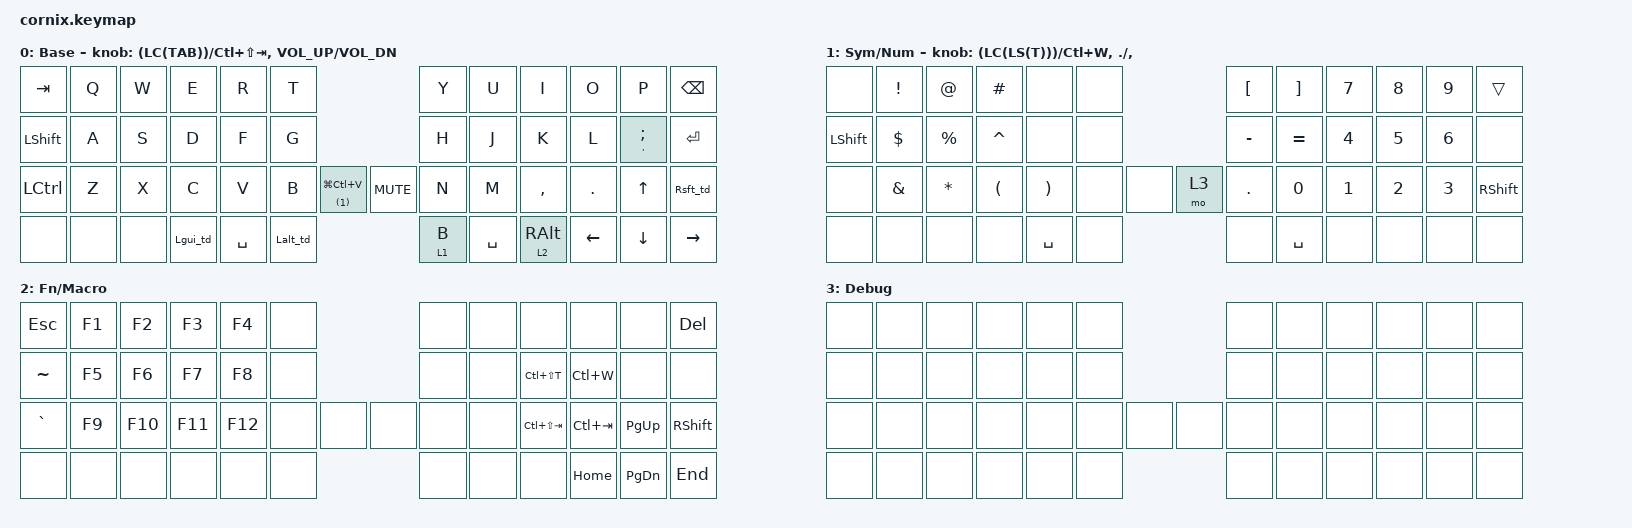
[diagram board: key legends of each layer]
/*
 * Copyright (c) 2020 The ZMK Contributors
 *
 * SPDX-License-Identifier: MIT
 */

#include "zmk-helpers/helper.h"
#include "includes/cornix54.h"

// tap windows for ctl alt and gui

#define HM_TAPPING_TERM 250
#define HM_TAPPING_REPEAT 210

// quick tapping for shift

#define HM_TAPPING_TERM_FAST 200
#define HM_PRIOR_IDLE 70
#define BASE 0
#define WIN 1
#define LOWER 2
#define RAISE 3
#define ADJUST 4
#define NAVI   5
#define NUM    6
#define DEBUG  7

// https://github.com/urob/zmk-config/tree/main#timeless-homerow-mods

#define KEYS_L LT0 LT1 LT2 LT3 LT4 LT5 LM0 LM1 LM2 LM3 LM4 LM5 LB0 LB1 LB2 LB3 LB4 LB5  // left hand
#define KEYS_R RT0 RT1 RT2 RT3 RT4 RT5 RM0 RM1 RM2 RM3 RM4 RM5 RB0 RB1 RB2 RB3 RB4 RB5  // right hand
#define THUMBS LH1 LH0 RH0 RH1
#define KEYS_T LH1 LH0 RH0 RH1
#define ZMK_POINTING_DEFAULT_SCRL_VAL 15

#include <behaviors.dtsi>
#include <dt-bindings/zmk/keys.h>

/ {
    // Activate ADJUST layer by pressing raise and lower

    behaviors {
        // Positional Homerow mods for shift
        // Use faster tapping term and disable some features that may
        // cause false negatives.
        /*
         * Non-Positional Homerow Mods
         * Used for &mm_grescm_gui behavior on left hand.
         *
         * Usage: &hm LSHFT T
         * Tap: T
         * Tap-Tap-Hold: Repeat T
         * Hold: LSHIFT
         */

        lt: layer_tap {
            compatible = "zmk,behavior-hold-tap";
            #binding-cells = <2>;
            bindings = <&mo>, <&kp>;

            flavor = "tap-preferred";
            tapping-term-ms = <HM_TAPPING_TERM>;
            quick-tap-ms = <200>;
        };

        ht: hold_tap {
            compatible = "zmk,behavior-hold-tap";
            bindings = <&kp>, <&kp>;

            #binding-cells = <2>;
            tapping-term-ms = <125>;
            flavor = "balanced";
            quick-tap-ms = <125>;
        };

        Rsft_td: Rsft_td {
            compatible = "zmk,behavior-tap-dance";
            label = "Rsft_td";
            #binding-cells = <0>;
            tapping-term-ms = <150>;
            bindings = <&ht RSHIFT SLASH>, <&ht QMARK QMARK>;
        };

        Lalt_td: Lalt_td {
            compatible = "zmk,behavior-tap-dance";
            label = "LALT_TD";
            #binding-cells = <0>;
            bindings = <&ht LALT Y>, <&lt 1 LALT>;

            tapping-term-ms = <150>;
        };

        Lgui_td: Lgui_td {
            compatible = "zmk,behavior-tap-dance";
            label = "LGUI_TD";
            #binding-cells = <0>;
            bindings = <&ht LGUI LGUI>, <&lt 2 LGUI>;

            tapping-term-ms = <200>;
        };
    };

    conditional_layers { compatible = "zmk,conditional-layers"; };

    combos { compatible = "zmk,combos"; };

    keymap {
        compatible = "zmk,keymap";

        default_layer {
            display-name = "Base";

            // ------------------------------------------------------------------------------------------------------------
            // |   `   |  1  |  2  |  3   |  4   |  5   |                   |  6   |  7    |  8    |  9   |   0   |       |
            // |  ESC  |  Q  |  W  |  E   |  R   |  T   |                   |  Y   |  U    |  I    |  O   |   P   | BKSPC |
            // |  TAB  |  A  |  S  |  D   |  F   |  G   |                   |  H   |  J    |  K    |  L   |   ;   |   '   |
            // | SHIFT |  Z  |  X  |  C   |  V   |  B   |  MUTE  |  |       |  N   |  M    |  ,    |  .   |   /   | SHIFT |
            //               | GUI | ALT  | CTRL | LOWER|  ENTER |  | SPACE | RAISE| CTRL  | ALT   | GUI  |

            bindings = <
&kp TAB     &kp Q  &kp W  &kp E     &kp R      &kp T                                    &kp Y    &kp U      &kp I       &kp O     &kp P               &kp BACKSPACE
&kp LSHIFT  &kp A  &kp S  &kp D     &kp F      &kp G                                    &kp H    &kp J      &kp K       &kp L     &ht APOS SEMICOLON  &kp ENTER
&kp LCTRL   &kp Z  &kp X  &kp C     &kp V      &kp B     &lt (1) LG(LC(V))  &kp C_MUTE  &kp N    &kp M      &kp COMMA   &kp DOT   &kp UP              &Rsft_td
&none       &none  &none  &Lgui_td  &kp SPACE  &Lalt_td                                 &lt 1 B  &kp SPACE  &lt 2 RALT  &kp LEFT  &kp DOWN            &kp RIGHT
            >;

            sensor-bindings =
                <&inc_dec_kp (LC(TAB)) LC(LS(TAB))>,
                <&inc_dec_kp C_VOL_UP C_VOL_DN>;
        };

        sym+num_layer {
            bindings = <
&none       &kp EXCLAMATION  &kp AT_SIGN   &kp POUND             &none                  &none                &kp LEFT_BRACKET  &kp RIGHT_BRACKET  &kp N7  &kp N8  &kp N9  &trans
&kp LSHIFT  &kp DOLLAR       &kp PERCENT   &kp CARET             &none                  &none                &kp MINUS         &kp EQUAL          &kp N4  &kp N5  &kp N6  &none
&none       &kp AMPERSAND    &kp ASTERISK  &kp LEFT_PARENTHESIS  &kp RIGHT_PARENTHESIS  &none  &none  &mo 3  &kp DOT           &kp N0             &kp N1  &kp N2  &kp N3  &kp RSHFT
&none       &none            &none         &none                 &kp SPACE              &none                &none             &kp SPACE          &none   &none   &none   &none
            >;

            label = "Sym/Num";
            sensor-bindings =
                <&inc_dec_kp (LC(LS(T))) LC(W)>,
                <&inc_dec_kp PERIOD COMMA>;
        };

        fn+macro {
            bindings = <
&kp ESC    &kp F1  &kp F2   &kp F3   &kp F4   &none                &none  &none  &none            &none        &none          &kp DEL
&kp TILDE  &kp F5  &kp F6   &kp F7   &kp F8   &none                &none  &none  &kp LC(LS(T))    &kp LC(W)    &none          &none
&kp GRAVE  &kp F9  &kp F10  &kp F11  &kp F12  &none  &none  &none  &none  &none  &kp LC(LS(TAB))  &kp LC(TAB)  &kp PAGE_UP    &kp RSHIFT
&none      &none   &none    &none    &none    &none                &none  &none  &none            &kp HOME     &kp PAGE_DOWN  &kp END
            >;

            label = "Fn/Macro";
        };

        Debug_layer {
            display-name = "Debug";

            // ----------------------------------------------------------------------------------------------------------------------------
            // | BTCLR  |  BT1    |  BT2    |   BT3   |   BT4   |   BT5   |                  |      |      |       |      |       |       |
            // | EXTPWR | BTCLR | RGB_HUI | RGB_SAD | RGB_SAI | RGB_EFF |                  |      |      |       |      |       |       |
            // |        | RGB_BRD | RGB_BRI |         |         |         |                  |      |      |       |      |       |       |
            // |        |         |         |         |         |         | RGB_TOG | |      |      |      |       |      |       |       |
            //                    |         |         |         |         |         | |      |      |      |       |      |

            bindings = <
&none  &none  &none  &none  &none  &none                &none  &none  &none  &none  &none  &none
&none  &none  &none  &none  &none  &none                &none  &none  &none  &none  &none  &none
&none  &none  &none  &none  &none  &none  &none  &none  &none  &none  &none  &none  &none  &none
&none  &none  &none  &none  &none  &none                &none  &none  &none  &none  &none  &none
            >;
        };
    };
};
